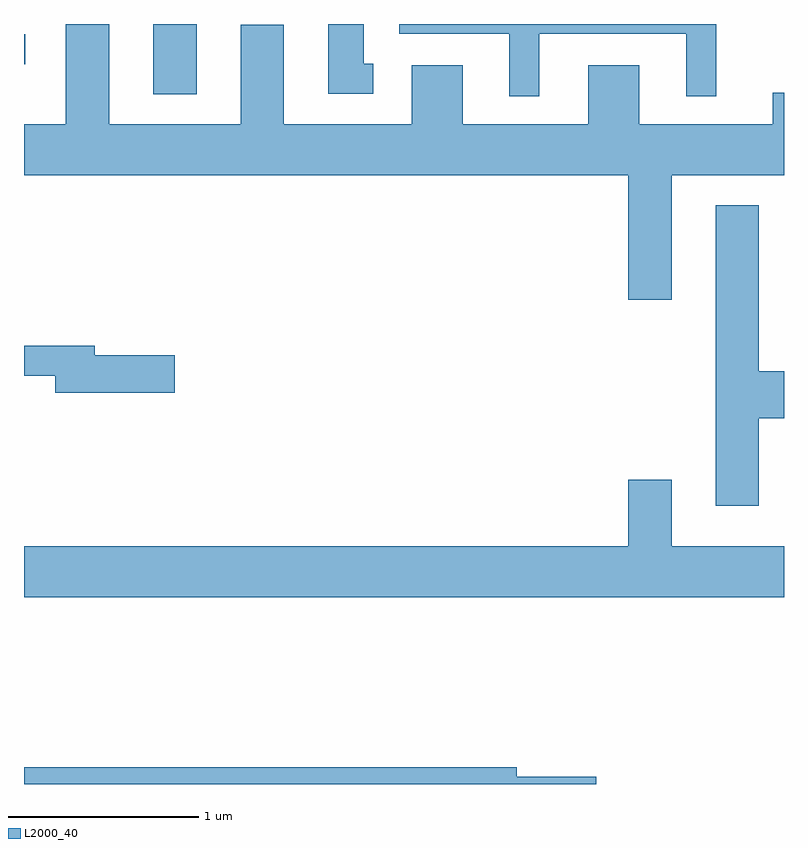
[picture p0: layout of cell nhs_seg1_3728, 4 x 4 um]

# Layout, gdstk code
import gdstk
lib = gdstk.Library(unit=1e-6, precision=1e-09)
def R(c, l, rs):  # rectangles x0, y0, x1, y1
    for r in rs: c.add(gdstk.rectangle(r[:2], r[2:], *l))
def P(c, l, *ps):  # polygons
    for p in ps: c.add(gdstk.Polygon(p, *l))
L2000_40 = (2000, 40)

nhs_seg1_3728 = lib.new_cell('nhs_seg1_3728')
R(nhs_seg1_3728, L2000_40, [(298.291,893.341,298.519,893.712), (297.611,893.501,297.618,893.659)])
P(nhs_seg1_3728, L2000_40, [(301.019,892.916),(301.611,892.916),(301.611,893.349),(301.551,893.349),(301.551,893.184),(300.849,893.184),(300.849,893.494),(300.581,893.494),(300.581,893.184),(299.919,893.184),(299.919,893.494),(299.651,893.494),(299.651,893.184),(298.979,893.184),(298.979,893.709),(298.751,893.709),(298.751,893.184),(298.059,893.184),(298.059,893.712),(297.831,893.712),(297.831,893.184),(297.611,893.184),(297.611,892.916),(300.791,892.916),(300.791,892.261),(301.019,892.261)],
  [(300.324,893.661),(301.096,893.661),(301.096,893.333),(301.254,893.333),(301.254,893.712),(299.586,893.712),(299.586,893.661),(300.166,893.661),(300.166,893.333),(300.324,893.333)],
  [(299.448,893.504),(299.399,893.504),(299.399,893.712),(299.211,893.712),(299.211,893.346),(299.448,893.346)],
  [(301.479,891.636),(301.611,891.636),(301.611,891.884),(301.479,891.884),(301.479,892.759),(301.251,892.759),(301.251,891.176),(301.479,891.176)],
  [(298.404,891.969),(297.984,891.969),(297.984,892.019),(297.611,892.019),(297.611,891.861),(297.776,891.861),(297.776,891.771),(298.404,891.771)],
  [(301.611,890.964),(301.019,890.964),(301.019,891.314),(300.791,891.314),(300.791,890.964),(297.611,890.964),(297.611,890.696),(301.611,890.696)],
  [(300.624,889.749),(300.204,889.749),(300.204,889.799),(297.611,889.799),(297.611,889.712),(300.624,889.712)])

lib.write_gds('nhs_seg1_3728.gds')
